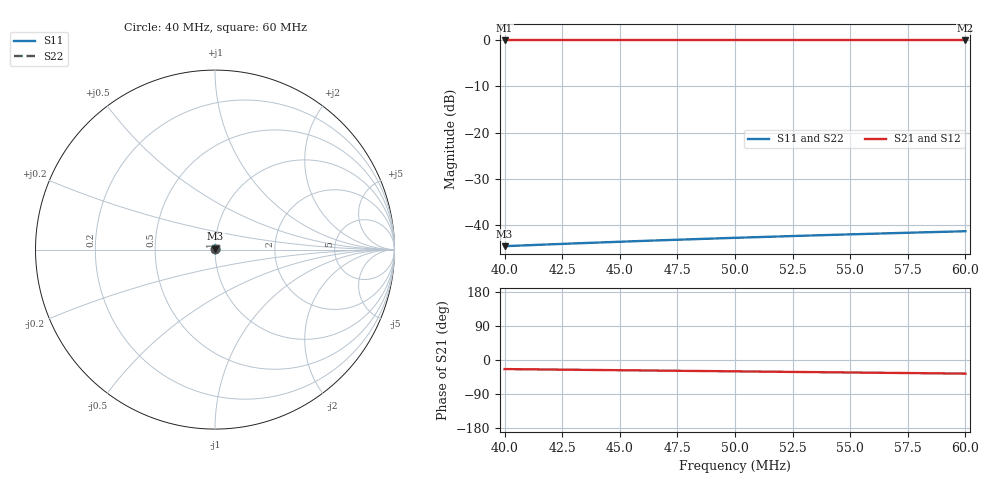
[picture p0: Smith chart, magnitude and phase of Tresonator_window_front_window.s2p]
! Touchstone file exported from HFSS 2021.1.0
!  File:  C:/Users/JH218595/Documents/tresonator_window/CAD/Tresonator_window.aedt
!  Generated:  12:50:47  avr. 14, 2021
!  Design:  front_window
!  Project:  Tresonator_window
!  Setup:  Setup1
!  Solution:  Sweep
! Variables:
!  R_CEA = 0.01ohm
!  R_DUT = 0.1ohm
!Data is not renormalized
# GHz S MA
! Terminal data exported
! Port[1] = 1
! Port[2] = 2
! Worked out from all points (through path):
!   401 points, 40 MHz to 60 MHz, reference per port
!   highest |S21| = 0.00 dB at 40 MHz (marker M1); lowest = 0.0 dB at 60 MHz (marker M2)
!   group delay of S21, straight-line fit = 1.66 ns
!   lowest |S11| = -44.7 dB at 40 MHz (marker M3), VSWR 1.01
!   |S11| at or under -10 dB: start of sweep to end of sweep
!   |S22| runs from -44.7 to -41.4 dB; largest |S21 - S12| = 2.7e-15
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0.04  0.00584 67.9  0.9998 -24.0  0.9998 -24.0  0.005838 66.9
! Gamma 0.000168842235893273 0.83850691504305 0.000169011100031539 0.838507084091903
! Port Impedance 19.8402177819102 -0.00388007784471302 19.8384673008428 -0.00388031762417777
0.0401  0.005853 67.8  0.9998 -24.0  0.9998 -24.0  0.005851 66.9
0.0409  0.005964 67.3  0.9998 -24.5  0.9998 -24.5  0.005962 66.4
0.0417  0.006074 66.8  0.9998 -25.0  0.9998 -25.0  0.006072 65.9
0.0425  0.006184 66.3  0.9998 -25.5  0.9998 -25.5  0.006182 65.5
0.04335  0.006301 65.8  0.9998 -26.0  0.9998 -26.0  0.006299 65.0
0.04415  0.00641 65.3  0.9998 -26.4  0.9998 -26.4  0.006408 64.5
0.045  0.006525 64.8  0.9998 -27.0  0.9998 -27.0  0.006523 64.0
0.04585  0.006641 64.3  0.9998 -27.5  0.9998 -27.5  0.006639 63.5
0.0467  0.006755 63.8  0.9997 -28.0  0.9997 -28.0  0.006753 63.0
0.0475  0.006863 63.3  0.9997 -28.5  0.9997 -28.5  0.006861 62.5
0.04835  0.006976 62.8  0.9997 -29.0  0.9997 -29.0  0.006974 62.0
0.04915  0.007083 62.3  0.9997 -29.4  0.9997 -29.4  0.007081 61.5
0.05  0.007196 61.8  0.9997 -30.0  0.9997 -30.0  0.007194 61.0
0.05165  0.007413 60.8  0.9997 -30.9  0.9997 -30.9  0.007411 60.1
0.05335  0.007635 59.8  0.9997 -32.0  0.9997 -32.0  0.007633 59.1
0.055  0.007849 58.8  0.9997 -32.9  0.9997 -32.9  0.007847 58.1
0.0567  0.008067 57.7  0.9997 -34.0  0.9997 -34.0  0.008065 57.1
0.0577  0.008194 57.1  0.9997 -34.6  0.9997 -34.6  0.008192 56.5
0.05875  0.008326 56.5  0.9997 -35.2  0.9997 -35.2  0.008324 55.8
0.0599  0.008471 55.8  0.9997 -35.9  0.9997 -35.9  0.008469 55.2
0.06  0.008483 55.8  0.9997 -35.9  0.9997 -35.9  0.008481 55.1
